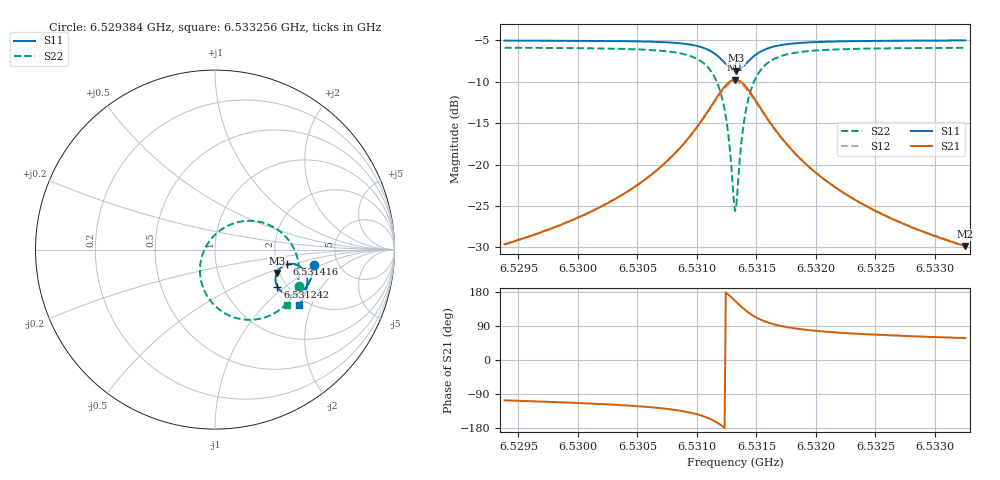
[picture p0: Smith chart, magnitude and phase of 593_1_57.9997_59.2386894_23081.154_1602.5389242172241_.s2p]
#  HZ  S  RI  R  50.00
! Rohde & Schwarz Vector Network Analyzer
! Rohde-Schwarz,ZNB20-2Port,1311601062101988,3.16
! Created: UTC 3/21/2024, 1:16:54 AM
! freq[Hz]  re:S11  im:S11  re:S21  im:S21  re:S12  im:S12  re:S22  im:S22
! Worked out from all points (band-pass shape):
!   401 points, 6.529384 GHz to 6.533256 GHz, reference 50 ohm
!   highest |S21| = -9.75 dB at 6.53132 GHz (marker M1); lowest = -29.9 dB at 6.533256 GHz (marker M2)
!   |S21| within 3 dB of the highest: 6.531128 GHz to 6.531515 GHz (387.2 kHz wide, 0.00593 % of centre)
!   lowest |S11| = -8.7 dB at 6.531329 GHz (marker M3), VSWR 2.17, Z = 96.7 - j29.2 ohm
!   |S11| at or under -10 dB: nowhere
!   |S22| runs from -25.6 to -5.9 dB; largest |S21 - S12| = 0.013
!   S11 on the Smith chart (normalised r, x): 6.529384 GHz: 3.32, -0.83; 6.531242 GHz: 1.78, -0.89; 6.531416 GHz: 2.28, -0.45; 6.533256 GHz: 1.83, -1.64
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6.5293836e9  0.5541 -0.0859  -0.00935 -0.0317  -0.0101 -0.0314  0.4659 -0.2024
6.5300322e9  0.5416 -0.1404  -0.0198 -0.0447  -0.0209 -0.0443  0.4312 -0.2622
6.5303613e9  0.5303 -0.1712  -0.0315 -0.0567  -0.0331 -0.056  0.4001 -0.3005
6.5306807e9  0.5105 -0.2063  -0.0566 -0.0759  -0.0588 -0.0742  0.3429 -0.3475
6.530913e9  0.4795 -0.2363  -0.1022 -0.0957  -0.105 -0.092  0.2515 -0.385
6.5310776e9  0.4311 -0.253  -0.1777 -0.098  -0.1795 -0.0904  0.1144 -0.3802
6.5311744e9  0.3825 -0.2421  -0.252 -0.0622  -0.2497 -0.0517  -0.00734 -0.3061
6.5312422e9  0.3477 -0.2074  -0.3014 0.00796  -0.2933 0.018  -0.0763 -0.1797
6.5312712e9  0.339 -0.1838  -0.3109 0.0516  -0.3006 0.0596  -0.0839 -0.1062
6.5313099e9  0.3388 -0.148  -0.3039 0.1154  -0.2916 0.1195  -0.0602 -0.00336
6.5313196e9  0.3412 -0.1391  -0.298 0.131  -0.2858 0.1339  -0.048 0.0209
6.5313293e9  0.3445 -0.1305  -0.2909 0.1459  -0.2784 0.1478  -0.0334 0.0437
6.531339e9  0.3489 -0.1222  -0.2821 0.1598  -0.27 0.1607  -0.0167 0.0653
6.5313777e9  0.3725 -0.0958  -0.2366 0.2044  -0.2267 0.202  0.0653 0.1297
6.5314164e9  0.4018 -0.082  -0.1839 0.2273  -0.1768 0.2233  0.156 0.158
6.5314842e9  0.448 -0.0826  -0.1036 0.2266  -0.1002 0.223  0.2895 0.1423
6.531581e9  0.4876 -0.1066  -0.0362 0.1914  -0.0344 0.1893  0.3983 0.0674
6.5317262e9  0.5099 -0.1447  0.00361 0.1403  0.00502 0.1396  0.4557 -0.0347
6.5319682e9  0.5149 -0.189  0.0195 0.0911  0.0206 0.0906  0.4675 -0.1364
6.5322682e9  0.5081 -0.2259  0.0216 0.0612  0.0224 0.061  0.455 -0.2048
6.5326167e9  0.4962 -0.2588  0.02 0.0433  0.0209 0.0429  0.4357 -0.2533
6.5332556e9  0.4708 -0.3072  0.017 0.0272  0.0176 0.0269  0.4004 -0.3114
